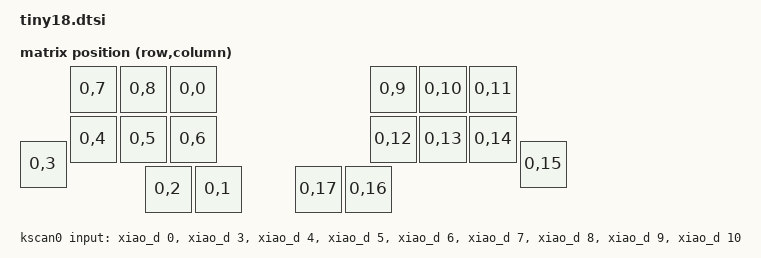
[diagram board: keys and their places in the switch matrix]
#include <input/processors.dtsi>
#include <dt-bindings/zmk/input_transform.h>
#include <dt-bindings/zmk/matrix_transform.h>
#include <physical_layouts.dtsi>

/ {
	chosen {
                zmk,physical-layout = &tiny18_physical_layout;
	};


    tiny18_physical_layout: tiny18_physical_layout {
        compatible = "zmk,physical-layout";
        display-name = "Default";
        transform = <&default_transform>;
        kscan = <&kscan0>;

        keys  //                     w   h    x    y     rot    rx    ry
            = <&key_physical_attrs 100 100  100    0       0     0     0>
            , <&key_physical_attrs 100 100  200    0       0     0     0>
            , <&key_physical_attrs 100 100  300    0       0     0     0>
            , <&key_physical_attrs 100 100  700    0       0     0     0>
            , <&key_physical_attrs 100 100  800    0       0     0     0>
            , <&key_physical_attrs 100 100  900    0       0     0     0>

            , <&key_physical_attrs 100 100    0  150       0     0     0>
            , <&key_physical_attrs 100 100  100  100       0     0     0>
            , <&key_physical_attrs 100 100  200  100       0     0     0>
            , <&key_physical_attrs 100 100  300  100       0     0     0>
            , <&key_physical_attrs 100 100  700  100       0     0     0>
            , <&key_physical_attrs 100 100  800  100       0     0     0>
            , <&key_physical_attrs 100 100  900  100       0     0     0>
            , <&key_physical_attrs 100 100 1000  150       0     0     0>

            , <&key_physical_attrs 100 100  250  200       0     0     0>
            , <&key_physical_attrs 100 100  350  200       0     0     0>
            , <&key_physical_attrs 100 100  550  200       0     0     0>
            , <&key_physical_attrs 100 100  650  200       0     0     0>
        ;
    };


	default_transform: keymap_transform_0 {
		compatible = "zmk,matrix-transform";
		columns = <18>;
		rows = <1>;
		map = <
			         RC(0,7)  RC(0,8)  RC(0,0)             RC(0,9) RC(0,10) RC(0,11)
			RC(0,3)  RC(0,4)  RC(0,5)  RC(0,6)             RC(0,12) RC(0,13) RC(0,14) RC(0,15)
			                  RC(0,2)  RC(0,1)             RC(0,17) RC(0,16)
		>;
	};

	kscan0: kscan {
		compatible = "zmk,kscan-gpio-direct";
		label = "KSCAN";
		wakeup-source;
		input-gpios =
			<&xiao_d  0 (GPIO_ACTIVE_LOW | GPIO_PULL_UP)>,
			<&xiao_d  3 (GPIO_ACTIVE_LOW | GPIO_PULL_UP)>,
			<&xiao_d  4 (GPIO_ACTIVE_LOW | GPIO_PULL_UP)>,

			<&xiao_d  5 (GPIO_ACTIVE_LOW | GPIO_PULL_UP)>,
			<&xiao_d  6 (GPIO_ACTIVE_LOW | GPIO_PULL_UP)>,
			<&xiao_d  7 (GPIO_ACTIVE_LOW | GPIO_PULL_UP)>,
			<&xiao_d  8 (GPIO_ACTIVE_LOW | GPIO_PULL_UP)>,

			<&xiao_d  9 (GPIO_ACTIVE_LOW | GPIO_PULL_UP)>,
			<&xiao_d  10 (GPIO_ACTIVE_LOW | GPIO_PULL_UP)>

		;
	};

};
